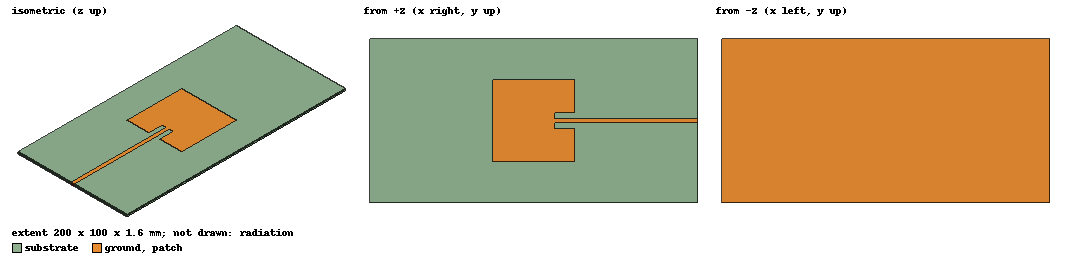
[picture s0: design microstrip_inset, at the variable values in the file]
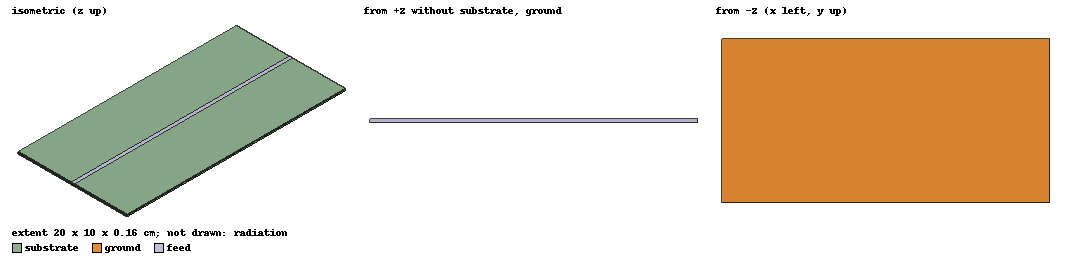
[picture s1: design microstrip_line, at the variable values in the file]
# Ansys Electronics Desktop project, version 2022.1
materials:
  vacuum: permittivity=1
  FR4_epoxy: permittivity=4.4 dielectric_loss_tangent=0.02
  air: permittivity=1.0006 permeability=1.0000004

design microstrip_inset (HFSS, DrivenModal, model units mm)
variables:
  boy = 100mm
  en = 100mm
  feed_en = 3mm
  girinti_en = 10mm
  girinti_boy = -17mm
  feed_boy = 115mm
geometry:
  ground = rectangle(corner=(100mm, 50mm, 0mm), x_size=-200mm, y_size=-100mm)
  substrate [FR4_epoxy] = box(corner=(100mm, 50mm, 0mm), size=(-200mm, -100mm, 1.6mm))
  patch = rectangle(corner=(25mm, 25mm, 1.6mm), x_size=-boy/2, y_size=-en/2)
  feed = rectangle(corner=(0, -feed_en/2, 1.6mm), x_size=100mm, y_size=feed_en)
  port = rectangle(corner=(100mm, -feed_en/2, 1.6mm), y_size=feed_en, z_size=-1.6mm)
  radiation [air] = box(corner=(-300mm, -140mm, -100mm), size=(480mm, 270mm, 200mm))
  Rectangle1 = rectangle(corner=(30mm, -girinti_en/2, 1.6mm), x_size=girinti_boy, y_size=girinti_en)
  patch.subtract(Rectangle1)
  patch.unite(feed)
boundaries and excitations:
  PerfE1: Perfect E Objects=[ground, patch]
  Rad1: Radiation Objects=radiation
  1: Lumped Port Objects=port Modes{Mode1{IntLine{(100, 0, 0) -> (100, 0, 1.6)} CharImp=Zpi RenormImp=50ohm}} Impedance=50ohm
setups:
  Setup1: HfssDriven Frequency=3.6GHz MaxDeltaS=0.02 MaximumPasses=6 MinimumPasses=1 MinimumConvergedPasses=1 PercentRefinement=30 BasisOrder=1 PortAccuracy=2 DrivenSolverType="Direct Solver"
    sweep Sweep: 1.8GHz to 5.4GHz step 0.01GHz; Type=Interpolating InterpTolerance=0.5 InterpMaxSolns=250 InterpUsePortImped=false PassivityErrorTolerance=0.0001
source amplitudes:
  1:1: 1W 0deg
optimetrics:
  ParametricSetup1: Parametric Sim._Setups=[Setup1]
    sweep girinti_boy: LIN -25.5mm -8.5mm 1mm
    sweep en: LIN 70mm 130mm 5mm
    sweep boy: LIN 70mm 130mm 5mm
    sweep feed_boy: LIN 90mm 130mm 5mm
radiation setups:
  ff_2d: Infinite Sphere Theta=-180deg..180deg step 2deg Phi=0deg..90deg step 90deg
  Infinite Sphere1: Infinite Sphere Theta=0deg..180deg step 2deg Phi=-180deg..180deg step 2deg

design microstrip_line (HFSS, DrivenModal, model units cm)
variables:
  boy = 200mm
  en = 100mm
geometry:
  ground = rectangle(corner=(boy/2, en/2, 0mm), x_size=-boy, y_size=-en)
  substrate [FR4_epoxy] = box(corner=(boy/2, en/2, 0mm), size=(-boy, -en, 1.6mm))
  feed = rectangle(corner=(boy/2, -1.5mm, 1.6mm), x_size=-boy, y_size=3mm)
  port1 = rectangle(corner=(boy/2, -1.5mm, 1.6mm), y_size=3mm, z_size=-1.6mm)
  radiation [air] = box(corner=(-230mm, -140mm, -100mm), size=(480mm, 270mm, 200mm))
  port2 = rectangle(corner=(-boy/2, -1.5mm, 0mm), y_size=3mm, z_size=1.6mm)
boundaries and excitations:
  PerfE1: Perfect E Objects=ground
  Rad1: Radiation Objects=radiation
  1: Lumped Port Objects=port1 Modes{Mode1{IntLine{(10, 0, 0) -> (10, 0, 0.16)} CharImp=Zpi RenormImp=50ohm}} Impedance=50ohm
  2: Lumped Port Objects=port2 Modes{Mode1{IntLine{(-10, 0, 0) -> (-10, 0, 0.16)} CharImp=Zpi RenormImp=50ohm}} Impedance=50ohm
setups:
  Setup1: HfssDriven Frequency=3.6GHz MaxDeltaS=0.02 MaximumPasses=6 MinimumPasses=1 MinimumConvergedPasses=1 PercentRefinement=30 BasisOrder=1 PortAccuracy=2 DrivenSolverType="Direct Solver"
    sweep Sweep: 1.8GHz to 5.4GHz step 0.01GHz; Type=Interpolating InterpTolerance=0.5 InterpMaxSolns=250 InterpUsePortImped=false PassivityErrorTolerance=0.0001
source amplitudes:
  1:1: 1W 0deg
  2:1: 0W 0deg
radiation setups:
  Infinite Sphere1: Infinite Sphere Theta=0deg..360deg step 2deg Phi=-180deg..180deg step 2deg
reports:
  Gain Plot 1: dB(GainTotal) vs Phi, Theta on Setup1 : LastAdaptive, Infinite Sphere1 [Freq=3.6GHz]
